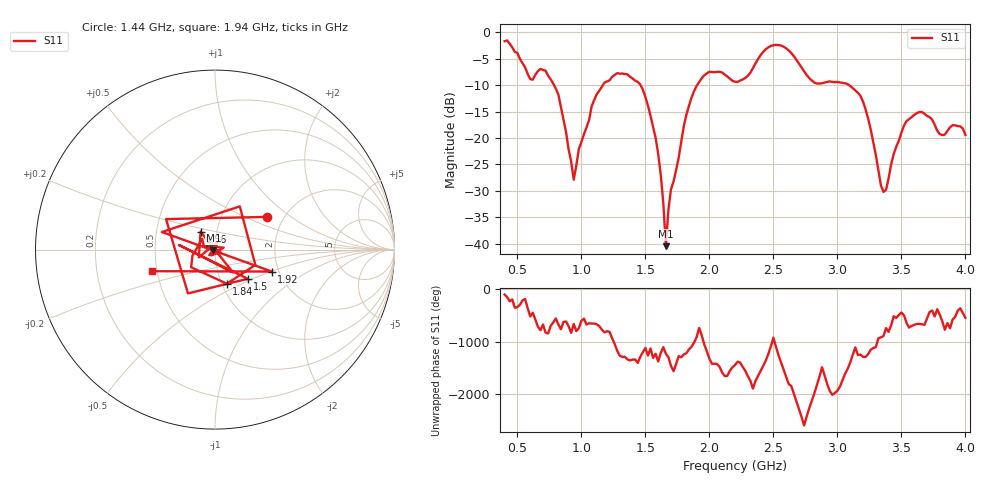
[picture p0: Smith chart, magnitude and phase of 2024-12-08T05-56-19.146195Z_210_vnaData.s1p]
!Created with skrf (http://scikit-rf.org).
# Hz S RI R 50.0
!freq ReS11 ImS11
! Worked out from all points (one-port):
!   181 points, 400 MHz to 4 GHz, reference 50 ohm
!   lowest |S11| = -40.5 dB at 1.66 GHz (marker M1), VSWR 1.02, Z = 49.2 - j0.431 ohm
!   |S11| at or under -10 dB: 786.4 MHz to 1.168 GHz (381.1 MHz wide, 39 % of centre); 1.463 GHz to 1.903 GHz (440.5 MHz wide, 26.2 % of centre); 3.091 GHz to end of sweep
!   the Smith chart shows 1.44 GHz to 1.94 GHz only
!   S11 on the Smith chart (normalised r, x): 1.44 GHz: 1.63, +0.67; 1.5 GHz: 1.35, -0.47; 1.56 GHz: 0.84, +0.17; 1.84 GHz: 1.06, -0.42; 1.92 GHz: 1.84, -0.51; 1.94 GHz: 0.47, -0.13
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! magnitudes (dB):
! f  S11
! 400 MHz  -1.7
! 600 MHz  -8.8
! 720 MHz  -7.3
! 820 MHz  -11.8
! 860 MHz  -16.5
! 940 MHz  -27.9
! 980 MHz  -22.1
! 1.1 GHz  -12.8
! 1.3 GHz  -7.8
! 1.44 GHz  -9.4
! 1.5 GHz  -12.2
! 1.56 GHz  -17.8
! 1.62 GHz  -27.0
! 1.66 GHz  -40.5
! 1.7 GHz  -29.7
! 1.76 GHz  -23.7
! 1.84 GHz  -13.9
! 1.92 GHz  -9.4
! 1.94 GHz  -8.7
! 2.2 GHz  -9.3
! 2.48 GHz  -2.6
! 2.66 GHz  -4.5
! 2.82 GHz  -9.5
! 3.1 GHz  -10.2
! 3.22 GHz  -14.6
! 3.36 GHz  -30.2
! 3.56 GHz  -16.4
! 4 GHz  -19.4
